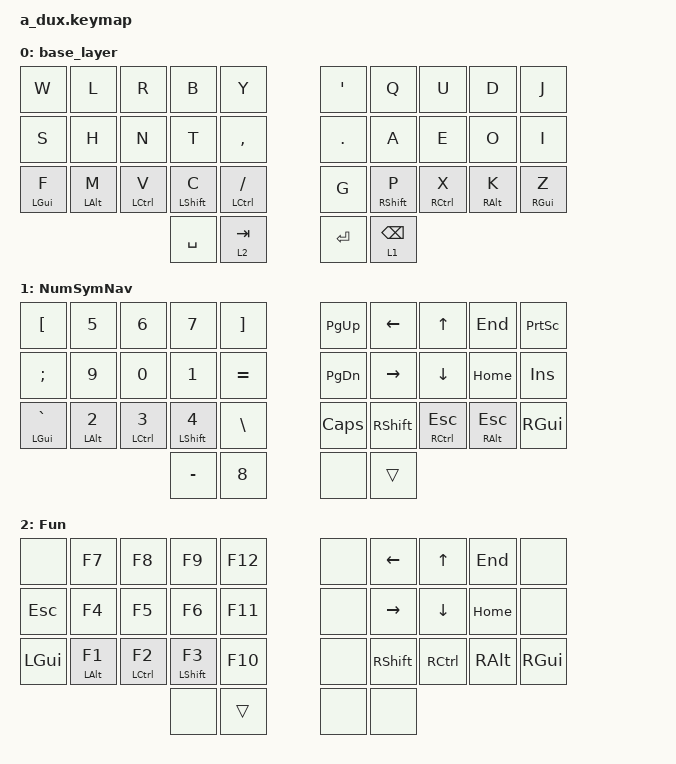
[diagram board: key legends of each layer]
/*
 * Copyright (c) 2021 The ZMK Contributors
 *
 * SPDX-License-Identifier: MIT
 */

#include <behaviors.dtsi>
#include <dt-bindings/zmk/keys.h>

/ {
    keymap {
        compatible = "zmk,keymap";

        // This is a sample keymap intended to be replaced with your own

        base_layer {
            bindings = <
     &kp W       &kp L        &kp R        &kp B            &kp Y  &kp SINGLE_QUOTE        &kp Q        &kp U       &kp D       &kp J
     &kp S       &kp H        &kp N        &kp T        &kp COMMA           &kp DOT        &kp A        &kp E       &kp O       &kp I
&mt LGUI F  &mt LALT M  &mt LCTRL V  &mt LSHFT C  &mt LCTRL SLASH             &kp G  &mt RSHFT P  &mt RCTRL X  &mt RALT K  &mt RGUI Z
                                       &kp SPACE        &lt 2 TAB           &kp RET   &lt 1 BSPC
            >;

            /*bindings = <
				&kp Q     &kp W     &kp E     &kp R     &kp T     &kp Y     &kp U     &kp I     &kp O     &kp P
				&kp A     &kp S     &kp D     &kp F     &kp G     &kp H     &kp J     &kp K     &kp L     &kp SEMI
				&kp Z     &kp X     &kp C     &kp V     &kp B     &kp N     &kp M     &kp COMMA &kp DOT   &kp SLASH
				                              &kp TAB   &kp BSPC  &kp SPACE &kp ENTER
			>;*/
        };

        NumSymNav {
            bindings = <
&kp LEFT_BRACKET       &kp NUMBER_5        &kp NUMBER_6        &kp NUMBER_7  &kp RIGHT_BRACKET  &kp PG_UP   &kp LEFT_ARROW    &kp UP_ARROW       &kp END  &kp PRINTSCREEN
        &kp SEMI       &kp NUMBER_9        &kp NUMBER_0        &kp NUMBER_1          &kp EQUAL  &kp PG_DN  &kp RIGHT_ARROW  &kp DOWN_ARROW      &kp HOME          &kp INS
  &mt LGUI GRAVE  &mt LALT NUMBER_2  &mt LCTRL NUMBER_3  &mt LSHFT NUMBER_4      &kp BACKSLASH   &kp CAPS        &kp RSHFT   &mt RCTRL ESC  &mt RALT ESC    &kp RIGHT_GUI
                                                                  &kp MINUS       &kp NUMBER_8      &none           &trans
            >;
        };

        Fun {
            bindings = <
   &none       &kp F7        &kp F8        &kp F9  &kp F12  &none   &kp LEFT  &kp UP_ARROW   &kp END     &none
 &kp ESC       &kp F4        &kp F5        &kp F6  &kp F11  &none  &kp RIGHT      &kp DOWN  &kp HOME     &none
&kp LGUI  &mt LALT F1  &mt LCTRL F2  &mt LSHFT F3  &kp F10  &none  &kp RSHFT     &kp RCTRL  &kp RALT  &kp RGUI
                                            &none   &trans  &none      &none
            >;
        };
    };
};
